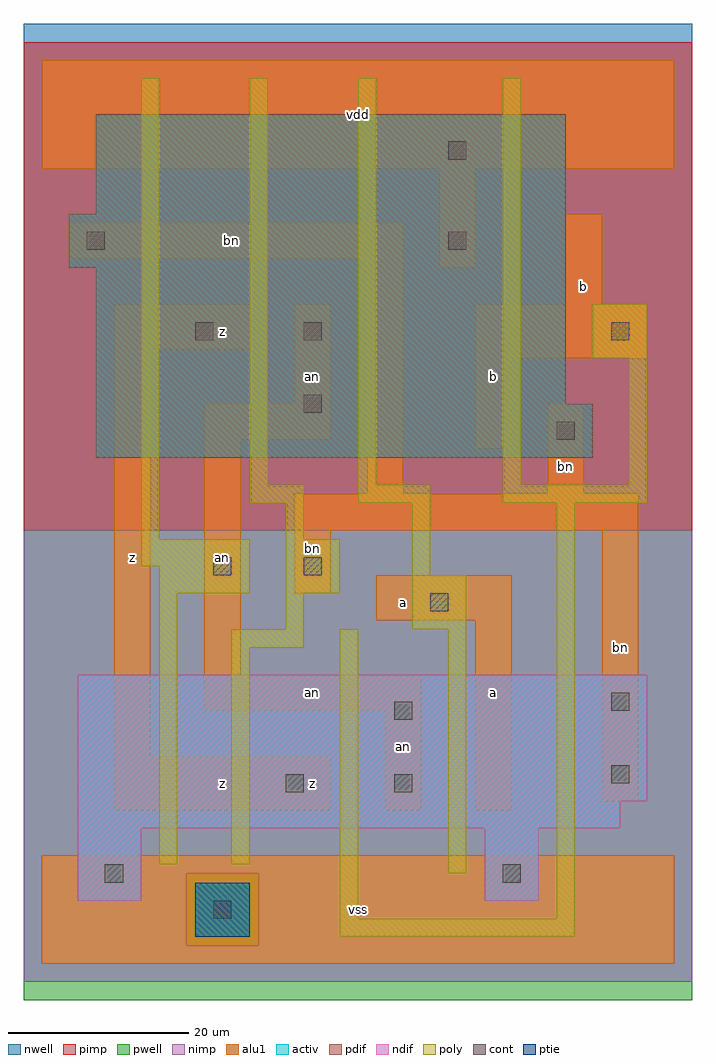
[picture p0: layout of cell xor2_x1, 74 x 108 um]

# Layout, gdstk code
import gdstk
lib = gdstk.Library(unit=1e-6, precision=1e-09)
def R(c, l, rs):  # rectangles x0, y0, x1, y1
    for r in rs: c.add(gdstk.rectangle(r[:2], r[2:], *l))
ndif = (3, 0)
pdif = (4, 0)
ptie = (6, 0)
cont = (25, 0)
pwell = (41, 0)
nwell = (42, 0)
activ = (43, 0)
pimp = (44, 0)
nimp = (45, 0)
poly = (46, 0)
alu1 = (49, 0)

xor2_x1 = lib.new_cell('xor2_x1')
R(xor2_x1, ndif, [(4,7,11,15), (49,7,55,15), (4,15,64,18), (4,18,67,32)])
R(xor2_x1, pdif, [(6,56,61,62), (6,62,58,77), (3,77,58,83), (6,83,58,94)])
R(xor2_x1, ptie, [(17,3,23,9)])
R(xor2_x1, cont, [(19,5,21,7), (7,9,9,11), (51,9,53,11), (27,19,29,21), (39,19,41,21), (63,20,65,22), (39,27,41,29), (63,28,65,30), (43,39,45,41), (19,43,21,45), (29,43,31,45), (57,58,59,60), (29,61,31,63), (17,69,19,71), (29,69,31,71), (63,69,65,71), (5,79,7,81), (45,79,47,81), (45,89,47,91)])
R(xor2_x1, pwell, [(-2,-4,72,48)])
R(xor2_x1, nwell, [(-2,48,72,104)])
R(xor2_x1, activ, [(17,3,23,9), (4,7,11,15), (49,7,55,15), (4,15,64,18), (4,18,67,32), (6,56,61,62), (6,62,58,77), (3,77,58,83), (6,83,58,94)])
R(xor2_x1, pimp, [(16,2,24,10), (-2,48,72,102)])
R(xor2_x1, nimp, [(-2,-2,72,2), (-2,2,16,10), (24,2,72,10), (-2,10,72,48)])
R(xor2_x1, poly, [(33,3,59,5), (33,5,35,37), (57,5,59,51), (45,10,47,37), (13,11,15,41), (21,11,23,35), (21,35,29,37), (27,37,29,41), (41,37,47,43), (13,41,23,44), (27,41,33,47), (41,43,43,51), (11,44,23,47), (11,47,13,98), (27,47,29,51), (23,51,29,53), (35,51,43,53), (51,51,67,53), (23,53,25,98), (35,53,37,98), (51,53,53,98), (65,53,67,67), (61,67,67,73)])
R(xor2_x1, alu1, [(0,0,70,12), (8,17,32,23), (38,17,42,28), (48,17,52,38), (62,18,66,48), (8,23,12,68), (18,28,42,32), (18,32,22,58), (37,38,52,43), (28,41,32,48), (28,48,66,52), (36,52,40,78), (56,52,60,62), (48,57,52,67), (18,58,32,62), (28,62,32,73), (48,67,67,73), (8,68,23,73), (58,73,62,83), (44,77,48,88), (3,78,40,82), (0,88,70,100)])
xor2_x1.add(gdstk.Label('z', (10,45), layer=49, texttype=0))
xor2_x1.add(gdstk.Label('z', (20,20), layer=49, texttype=0))
xor2_x1.add(gdstk.Label('z', (30,20), layer=49, texttype=0))
xor2_x1.add(gdstk.Label('bn', (30,46), layer=49, texttype=0))
xor2_x1.add(gdstk.Label('an', (20,45), layer=49, texttype=0))
xor2_x1.add(gdstk.Label('z', (20,70), layer=49, texttype=0))
xor2_x1.add(gdstk.Label('an', (30,65), layer=49, texttype=0))
xor2_x1.add(gdstk.Label('vss', (35,6), layer=49, texttype=0))
xor2_x1.add(gdstk.Label('an', (40,24), layer=49, texttype=0))
xor2_x1.add(gdstk.Label('an', (30,30), layer=49, texttype=0))
xor2_x1.add(gdstk.Label('a', (50,30), layer=49, texttype=0))
xor2_x1.add(gdstk.Label('a', (40,40), layer=49, texttype=0))
xor2_x1.add(gdstk.Label('b', (50,65), layer=49, texttype=0))
xor2_x1.add(gdstk.Label('vdd', (35,94), layer=49, texttype=0))
xor2_x1.add(gdstk.Label('bn', (21,80), layer=49, texttype=0))
xor2_x1.add(gdstk.Label('bn', (58,55), layer=49, texttype=0))
xor2_x1.add(gdstk.Label('bn', (64,35), layer=49, texttype=0))
xor2_x1.add(gdstk.Label('b', (60,75), layer=49, texttype=0))

lib.write_gds('xor2_x1.gds')
